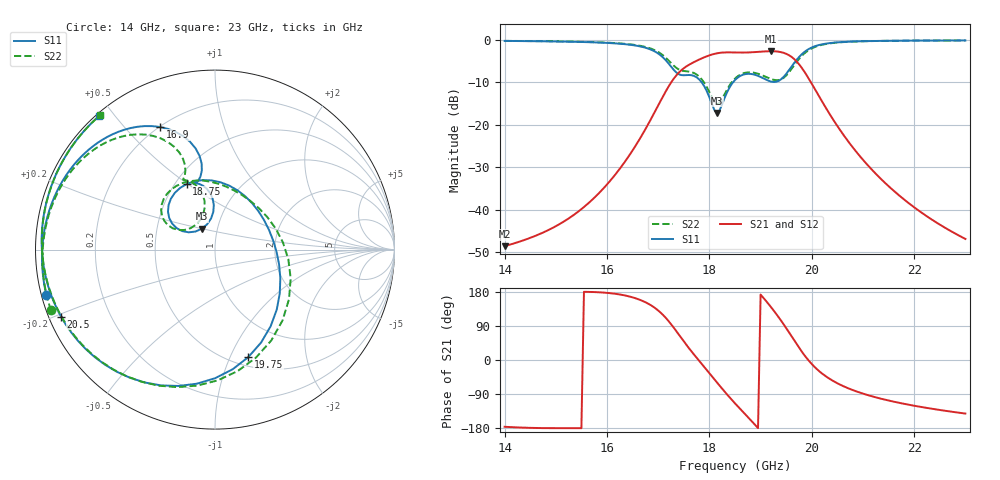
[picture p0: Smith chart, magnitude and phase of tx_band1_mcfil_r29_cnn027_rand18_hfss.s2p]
! Touchstone file exported from HFSS 3D Layout Design 2026.1.0
!  File:  D:/Work/SIM/ADS_AUTO_SIM/projects/RFSOC_RF/TX_Fillter.aedt
!  Generated:  02:24:17 AM Aug 31, 2026
!  Design:  TX_BAND1_MCFIL_R29_CNN027
!  Project:  TX_Fillter
# GHz S MA R 50.000000
! Terminal data exported
! Port[1] = Port1
! Port[2] = Port2
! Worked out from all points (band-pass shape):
!   181 points, 14 GHz to 23 GHz, reference 50 ohm
!   highest |S21| = -2.67 dB at 19.2 GHz (marker M1); lowest = -48.6 dB at 14 GHz (marker M2)
!   |S21| within 3 dB of the highest: 17.63 GHz to 19.75 GHz (2.114 GHz wide, 11.3 % of centre)
!   lowest |S11| = -17.2 dB at 18.15 GHz (marker M3), VSWR 1.32, Z = 42.1 + j9.96 ohm
!   |S11| at or under -10 dB: 17.85 GHz to 18.46 GHz (613 MHz wide, 3.38 % of centre)
!   |S22| runs from -15.2 to -0.1 dB; largest |S21 - S12| = 1.3e-14
!   S11 on the Smith chart (normalised r, x): 14 GHz: 0.01, -0.13; 16.9 GHz: 0.20, +0.63; 18.75 GHz: 0.57, +0.50; 19.75 GHz: 0.59, -1.17; 20.5 GHz: 0.03, -0.21; 23 GHz: 0.01, +0.45
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14  0.9729 -165.0  0.003695 -176.3  0.003695 -176.3  0.9745 -159.6
15.5  0.9457 164.5  0.01011 -179.9  0.01011 -179.9  0.9496 170.8
16.3  0.8962 141.4  0.03323 171.7  0.03323 171.7  0.9048 148.8
16.9  0.7483 114.1  0.1297 140.8  0.1297 140.8  0.7718 123.7
17  0.6907 108.4  0.1687 130.6  0.1687 130.6  0.7202 118.5
17.25  0.4853 98.8  0.3132 94.7  0.3132 94.7  0.5358 109.4
17.5  0.383 107.8  0.4636 49.0  0.4636 49.0  0.43 114.3
17.85  0.3157 94.9  0.6053 -10.3  0.6053 -10.3  0.3427 103.9
18.15  0.1375 122.4  0.6953 -59.6  0.6953 -59.6  0.1745 127.4
18.3  0.2091 150.5  0.7116 -83.9  0.7116 -83.9  0.2311 151.8
18.5  0.3366 141.1  0.7112 -114.4  0.7112 -114.4  0.3501 147.5
18.75  0.3981 113.3  0.711 -150.4  0.711 -150.4  0.4141 126.1
19  0.3654 77.7  0.7264 172.6  0.7264 172.6  0.3893 99.5
19.2  0.3229 41.2  0.7357 140.2  0.7357 140.2  0.3465 72.2
19.45  0.3663 -13.0  0.7037 94.1  0.7037 94.1  0.3576 19.3
19.6  0.4797 -44.2  0.6336 63.6  0.6336 63.6  0.4511 -20.8
19.75  0.6272 -72.8  0.5167 32.8  0.5167 32.8  0.5953 -58.2
20  0.8141 -111.7  0.3038 -10.7  0.3038 -10.7  0.7946 -105.3
20.25  0.8987 -138.2  0.1672 -40.8  0.1672 -40.8  0.8893 -135.4
20.5  0.9357 -156.5  0.09629 -61.5  0.09629 -61.5  0.9312 -155.2
21.5  0.9762 163.2  0.01883 -106.9  0.01883 -106.9  0.9759 162.8
23  0.9851 131.2  0.004496 -141.4  0.004496 -141.4  0.9851 130.6
